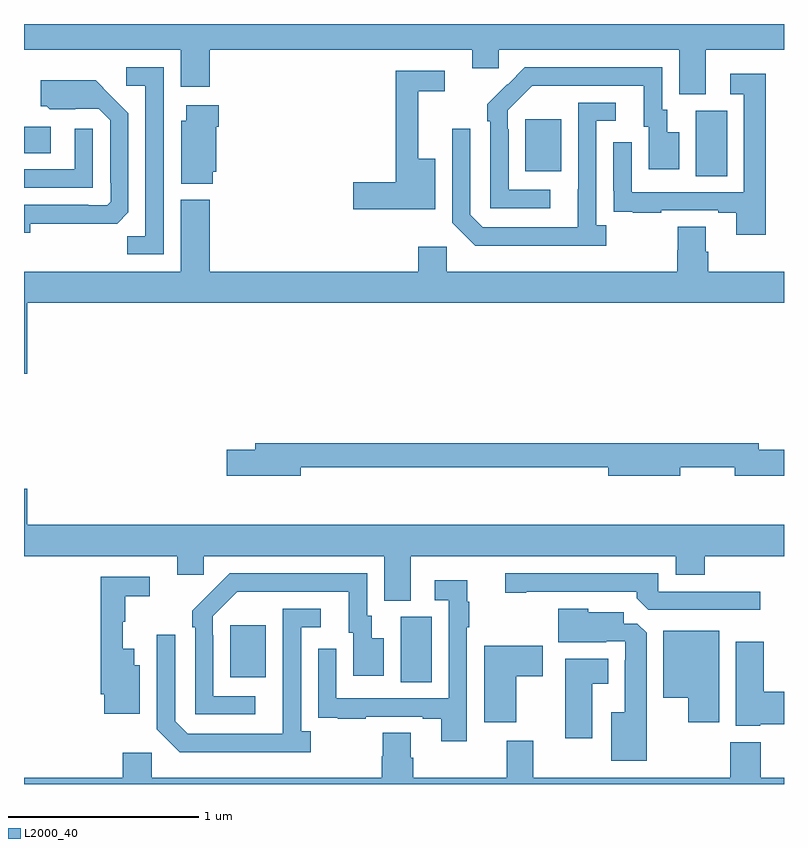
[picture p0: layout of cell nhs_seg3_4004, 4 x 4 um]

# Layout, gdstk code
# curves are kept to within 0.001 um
import gdstk
lib = gdstk.Library(unit=1e-6, precision=1e-09)
def R(c, l, rs):  # rectangles x0, y0, x1, y1
    for r in rs: c.add(gdstk.rectangle(r[:2], r[2:], *l))
def P(c, l, *ps):  # polygons
    for p in ps: c.add(gdstk.Polygon(p, *l))
L2000_40 = (2000, 40)

nhs_seg3_4004 = lib.new_cell('nhs_seg3_4004')
R(nhs_seg3_4004, L2000_40, [(322.982,682.936,323.146,683.28), (322.085,682.961,322.273,683.236), (324.536,685.6,324.7,685.944), (323.639,685.625,323.827,685.9), (321,685.72,321.142,685.86)])
P(nhs_seg3_4004, L2000_40, [(324.589,686.264),(325,686.264),(325,686.4),(321,686.4),(321,686.264),(321.824,686.264),(321.824,686.07),(321.977,686.07),(321.977,686.264),(323.36,686.264),(323.36,686.166),(323.499,686.166),(323.499,686.264),(324.449,686.264),(324.449,686.029),(324.589,686.029)],
  [(323.77,685.527),(323.55,685.527),(323.55,685.847),(323.547,685.847),(323.547,685.947),(323.676,686.076),(324.263,686.076),(324.263,685.86),(324.287,685.86),(324.287,685.635),(324.448,685.635),(324.448,685.831),(324.385,685.831),(324.385,685.95),(324.36,685.95),(324.36,686.172),(323.636,686.172),(323.439,685.977),(323.439,685.889),(323.454,685.889),(323.454,685.431),(323.77,685.431)],
  [(321.735,686.172),(321.537,686.172),(321.537,686.076),(321.639,686.076),(321.639,685.283),(321.544,685.283),(321.544,685.188),(321.735,685.188)],
  [(323.164,685.69),(323.075,685.69),(323.075,686.046),(323.215,686.046),(323.215,686.154),(322.957,686.154),(322.957,685.568),(322.734,685.568),(322.734,685.426),(323.164,685.426)],
  [(324.905,686.137),(324.717,686.137),(324.717,686.031),(324.789,686.031),(324.789,685.515),(324.198,685.515),(324.198,685.777),(324.102,685.777),(324.102,685.522),(324.103,685.522),(324.103,685.413),(324.205,685.413),(324.205,685.407),(324.353,685.407),(324.353,685.419),(324.653,685.419),(324.653,685.407),(324.749,685.407),(324.749,685.29),(324.905,685.29)],
  [(321.033,685.348),(321.49,685.349),(321.549,685.408),(321.549,685.93),(321.377,686.104),(321.089,686.104),(321.089,685.968),(321.12,685.968),(321.136,685.952),(321.393,685.953),(321.453,685.893),(321.453,685.564),(321.456,685.564),(321.456,685.464),(321.438,685.446),(321.338,685.446),(321.338,685.449),(321,685.449),(321,685.302),(321.033,685.302)],
  [(324.064,685.342),(324.012,685.342),(324.012,685.89),(324.115,685.89),(324.115,685.986),(323.916,685.986),(323.915,685.329),(323.415,685.329),(323.349,685.395),(323.349,685.849),(323.253,685.849),(323.253,685.353),(323.374,685.232),(324.064,685.232)],
  [(321.994,685.623),(322.012,685.623),(322.012,685.859),(322.025,685.859),(322.025,685.972),(321.854,685.972),(321.854,685.89),(321.827,685.89),(321.827,685.559),(321.994,685.559)],
  [(321.363,685.849),(321.267,685.849),(321.267,685.635),(321,685.635),(321,685.539),(321.363,685.539)],
  [(325,685.096),(324.602,685.096),(324.602,685.202),(324.589,685.202),(324.589,685.334),(324.442,685.334),(324.442,685.209),(324.437,685.209),(324.437,685.096),(323.226,685.096),(323.226,685.228),(323.075,685.228),(323.075,685.096),(321.977,685.096),(321.977,685.474),(321.824,685.474),(321.824,685.096),(321,685.096),(321,684.558),(321.016,684.558),(321.016,684.932),(325,684.932)],
  [(322.456,684.066),(324.074,684.066),(324.074,684.023),(324.454,684.023),(324.454,684.066),(324.74,684.066),(324.74,684.023),(325,684.023),(325,684.158),(324.868,684.158),(324.868,684.194),(322.217,684.194),(322.217,684.158),(322.068,684.158),(322.068,684.023),(322.456,684.023)],
  [(323.035,683.6),(324.431,683.6),(324.431,683.501),(324.584,683.501),(324.584,683.6),(325,683.6),(325,683.764),(321.016,683.764),(321.016,683.953),(321,683.953),(321,683.6),(321.806,683.6),(321.806,683.502),(321.945,683.502),(321.945,683.6),(322.895,683.6),(322.895,683.365),(323.035,683.365)],
  [(324.874,683.412),(324.339,683.412),(324.339,683.508),(323.532,683.508),(323.532,683.407),(323.644,683.407),(323.644,683.412),(324.224,683.412),(324.224,683.378),(324.285,683.316),(324.874,683.316)],
  [(322.216,682.863),(321.996,682.863),(321.996,683.183),(321.993,683.183),(321.993,683.283),(322.122,683.412),(322.709,683.412),(322.709,683.196),(322.733,683.196),(322.733,682.971),(322.894,682.971),(322.894,683.167),(322.831,683.167),(322.831,683.286),(322.806,683.286),(322.806,683.508),(322.082,683.508),(321.885,683.313),(321.885,683.225),(321.9,683.225),(321.9,682.767),(322.216,682.767)],
  [(321.61,683.026),(321.58,683.026),(321.58,683.113),(321.521,683.113),(321.521,683.253),(321.532,683.253),(321.532,683.389),(321.661,683.389),(321.661,683.49),(321.403,683.49),(321.403,682.873),(321.422,682.873),(321.422,682.769),(321.61,682.769)],
  [(323.331,683.224),(323.344,683.224),(323.344,683.36),(323.333,683.36),(323.333,683.473),(323.163,683.473),(323.163,683.367),(323.235,683.367),(323.235,682.851),(322.644,682.851),(322.644,683.113),(322.548,683.113),(322.548,682.858),(322.549,682.858),(322.549,682.749),(322.651,682.749),(322.651,682.743),(322.799,682.743),(322.799,682.755),(323.099,682.755),(323.099,682.743),(323.195,682.743),(323.195,682.626),(323.331,682.626)],
  [(324.277,683.195),(324.228,683.244),(324.157,683.244),(324.157,683.305),(323.97,683.305),(323.97,683.323),(323.813,683.323),(323.813,683.147),(324.065,683.147),(324.065,683.151),(324.165,683.151),(324.165,683.051),(324.161,683.051),(324.161,682.777),(324.092,682.777),(324.092,682.523),(324.277,682.523)],
  [(322.51,682.678),(322.458,682.678),(322.458,683.226),(322.561,683.226),(322.561,683.322),(322.362,683.322),(322.361,682.665),(321.861,682.665),(321.795,682.731),(321.795,683.185),(321.699,683.185),(321.699,682.689),(321.82,682.568),(322.51,682.568)],
  [(324.658,683.206),(324.365,683.206),(324.365,682.853),(324.497,682.853),(324.497,682.725),(324.658,682.725)],
  [(324.876,682.715),(325,682.715),(325,682.886),(324.893,682.886),(324.893,683.149),(324.746,683.149),(324.746,682.706),(324.876,682.706)],
  [(323.59,682.966),(323.731,682.966),(323.731,683.128),(323.423,683.128),(323.423,682.725),(323.59,682.725)],
  [(323.992,682.928),(324.076,682.928),(324.076,683.059),(323.849,683.059),(323.849,682.641),(323.992,682.641)],
  [(325,682.432),(324.878,682.432),(324.878,682.621),(324.718,682.621),(324.718,682.432),(323.68,682.432),(323.68,682.627),(323.54,682.627),(323.54,682.432),(323.048,682.432),(323.048,682.538),(323.035,682.538),(323.035,682.67),(322.888,682.67),(322.888,682.545),(322.883,682.545),(322.883,682.432),(321.672,682.432),(321.672,682.564),(321.521,682.564),(321.521,682.432),(321,682.432),(321,682.4),(325,682.4)])

lib.write_gds('nhs_seg3_4004.gds')
